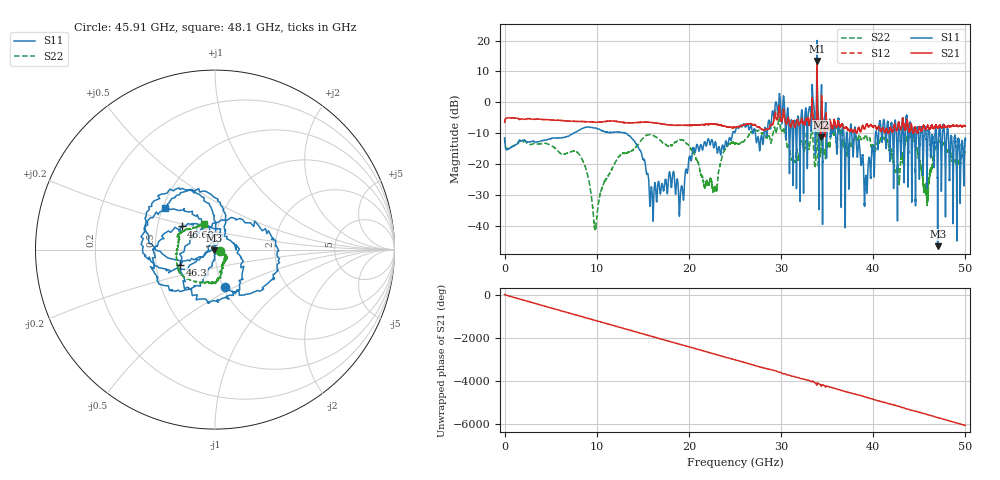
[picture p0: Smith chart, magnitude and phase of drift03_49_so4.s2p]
!Created with skrf (http://scikit-rf.org).
# Hz S RI R 50.0
!freq ReS11 ImS11 ReS21 ImS21 ReS12 ImS12 ReS22 ImS22
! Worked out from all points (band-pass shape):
!   10001 points, 300 kHz to 50 GHz, reference 50 ohm
!   highest |S21| = 13.45 dB at 33.9 GHz (marker M1); lowest = -11.4 dB at 34.32 GHz (marker M2)
!   |S21| within 3 dB of the highest: 33.8899 GHz to 33.90491 GHz (15.01 MHz wide, 0.0443 % of centre)
!   lowest |S11| = -46.7 dB at 46.99 GHz (marker M3), VSWR 1.01, Z = 49.7 - j0.322 ohm
!   |S11| at or under -10 dB: start of sweep to 7.488 GHz; 13.13 GHz to 24.74 GHz (11.61 GHz wide, 61.3 % of centre); 38.09 GHz to 40.26 GHz (2.164 GHz wide, 5.52 % of centre) (the widest 3 of 50)
!   |S22| runs from -41.4 to 5.9 dB; largest |S21 - S12| = 0.37
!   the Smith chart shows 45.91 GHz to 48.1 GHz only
!   S11 on the Smith chart (normalised r, x): 45.91 GHz: 1.02, -0.45; 46.3 GHz: 0.67, -0.12; 46.68 GHz: 0.67, +0.18; 48.1 GHz: 0.52, +0.28
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300000  -0.237 -0.1194  0.4672 0.078  0.4654 0.0792  -0.2362 -0.1243
1.440291e9  0.21 0.0648  -0.548 -0.0294  -0.548 -0.0294  0.2113 -0.0042
2.915283e9  -0.2121 -0.088  0.5336 0.0518  0.5342 0.0516  -0.2023 0.04
4.415274e9  0.2061 0.1322  -0.5216 -0.0426  -0.522 -0.0423  0.1983 -0.0873
8.33525e9  0.2887 -0.233  0.1459 0.4663  0.1456 0.4664  -0.0726 -0.1012
9.840241e9  -0.365 0.1252  -0.1429 -0.4538  -0.143 -0.4541  0.00855 0.00236
1.66702e10  0.0271 0.0439  -0.3791 0.2529  -0.379 0.2528  -0.1273 -0.2201
2.500015e10  -0.3258 -0.0163  -0.2549 -0.2975  -0.2531 -0.2991  -0.2122 0.0267
2.895513e10  -0.3253 0.4313  -0.2895 0.3249  -0.299 0.289  0.0648 0.2209
3.006512e10  0.4005 0.2689  0.4515 -0.1948  0.4546 -0.1819  0.1764 -0.2973
3.171011e10  -0.0901 0.1872  -0.3628 0.3548  -0.3619 0.3536  0.0645 0.1582
3.33351e10  0.6461 -0.7969  0.2659 -0.8446  0.2664 -0.822  -0.1827 -0.4276
3.38951e10  -2.509 -9.765  -4.637 0.8053  -4.317 0.9906  0.503 1.9
3.432009e10  -0.7805 -0.00181  -0.1802 0.1997  -0.2411 0.1784  0.1424 -0.0737
3.919006e10  0.0625 0.0142  0.2082 -0.3572  0.2118 -0.3497  -0.2721 -0.1274
4.167005e10  -0.2039 0.3015  0.3161 0.00356  0.3152 0.00948  -0.1906 -0.0089
4.591002e10  0.0567 -0.2095  -0.3622 -0.2218  -0.3578 -0.2203  0.0281 -0.00563
4.630002e10  -0.1932 -0.0852  -0.3934 0.1467  -0.3955 0.1412  0.0518 -0.0475
4.667502e10  -0.1864 0.1288  -0.1458 0.3593  -0.1481 0.3589  0.00768 -0.1845
4.699002e10  -0.0033 -0.00325  0.097 0.3727  0.0927 0.372  -0.1262 -0.1759
4.809501e10  -0.2771 0.2344  0.2058 -0.3487  0.2089 -0.3474  -0.0603 0.1434
5e10  -0.1202 -0.2258  0.1406 0.3855  0.1406 0.3843  -0.0538 -0.1446
